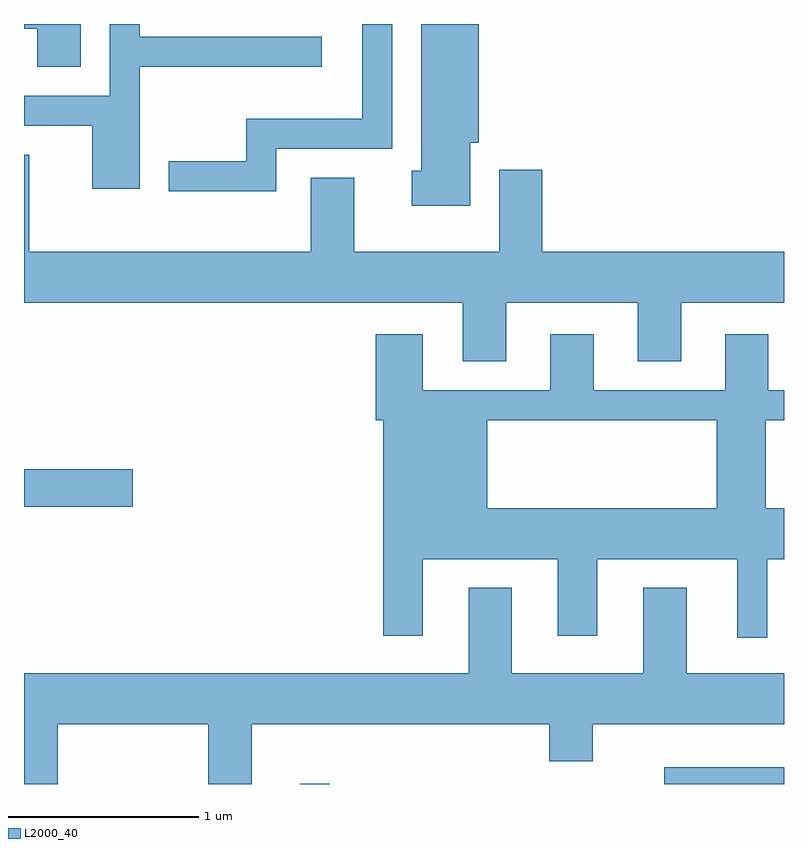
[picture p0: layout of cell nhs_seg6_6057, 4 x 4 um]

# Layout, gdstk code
import gdstk
lib = gdstk.Library(unit=1e-6, precision=1e-09)
def R(c, l, rs):  # rectangles x0, y0, x1, y1
    for r in rs: c.add(gdstk.rectangle(r[:2], r[2:], *l))
def P(c, l, *ps):  # polygons
    for p in ps: c.add(gdstk.Polygon(p, *l))
L2000_40 = (2000, 40)

nhs_seg6_6057 = lib.new_cell('nhs_seg6_6057')
R(nhs_seg6_6057, L2000_40, [(371.061,1554.162,371.219,1554.163), (372.981,1554.162,373.611,1554.249), (369.611,1555.621,370.184,1555.819)])
P(nhs_seg6_6057, L2000_40, [(371.959,1557.536),(372.004,1557.536),(372.004,1558.162),(371.701,1558.162),(371.701,1557.389),(371.651,1557.389),(371.651,1557.206),(371.959,1557.206)],
  [(369.909,1558.162),(369.611,1558.162),(369.611,1558.136),(369.681,1558.136),(369.681,1557.936),(369.909,1557.936)],
  [(370.219,1557.936),(371.178,1557.936),(371.178,1558.094),(370.219,1558.094),(370.219,1558.162),(370.061,1558.162),(370.061,1557.784),(369.611,1557.784),(369.611,1557.626),(369.971,1557.626),(369.971,1557.296),(370.219,1557.296)],
  [(370.939,1557.506),(371.549,1557.506),(371.549,1558.162),(371.391,1558.162),(371.391,1557.664),(370.781,1557.664),(370.781,1557.439),(370.373,1557.439),(370.373,1557.281),(370.939,1557.281)],
  [(372.149,1556.696),(372.841,1556.696),(372.841,1556.386),(373.069,1556.386),(373.069,1556.696),(373.611,1556.696),(373.611,1556.964),(372.339,1556.964),(372.339,1557.394),(372.111,1557.394),(372.111,1556.964),(371.349,1556.964),(371.349,1557.354),(371.121,1557.354),(371.121,1556.964),(369.639,1556.964),(369.639,1557.474),(369.611,1557.474),(369.611,1556.696),(371.921,1556.696),(371.921,1556.386),(372.149,1556.386)],
  [(371.709,1554.941),(371.709,1555.346),(372.421,1555.346),(372.421,1554.941),(372.629,1554.941),(372.629,1555.346),(373.366,1555.346),(373.366,1554.933),(373.524,1554.933),(373.524,1555.346),(373.611,1555.346),(373.611,1555.614),(373.514,1555.614),(373.514,1556.076),(373.611,1556.076),(373.611,1556.234),(373.529,1556.234),(373.529,1556.529),(373.301,1556.529),(373.301,1556.234),(372.609,1556.234),(372.609,1556.529),(372.381,1556.529),(372.381,1556.234),(371.709,1556.234),(371.709,1556.529),(371.461,1556.529),(371.461,1556.076),(371.501,1556.076),(371.501,1555.614),(372.049,1555.614),(372.049,1556.076),(373.256,1556.076),(373.256,1555.614),(372.049,1555.614),(371.501,1555.614),(371.501,1554.941)],
  [(369.789,1554.476),(370.581,1554.476),(370.581,1554.162),(370.809,1554.162),(370.809,1554.476),(372.376,1554.476),(372.376,1554.281),(372.604,1554.281),(372.604,1554.476),(373.611,1554.476),(373.611,1554.744),(373.099,1554.744),(373.099,1555.194),(372.871,1555.194),(372.871,1554.744),(372.179,1554.744),(372.179,1555.194),(371.951,1555.194),(371.951,1554.744),(369.611,1554.744),(369.611,1554.162),(369.789,1554.162)])

lib.write_gds('nhs_seg6_6057.gds')
